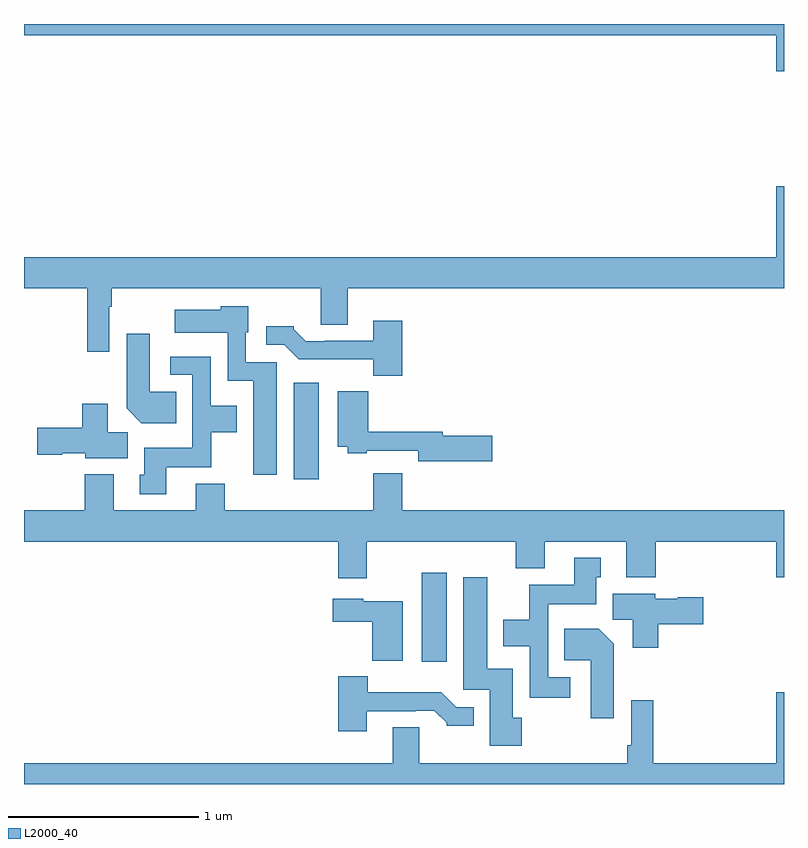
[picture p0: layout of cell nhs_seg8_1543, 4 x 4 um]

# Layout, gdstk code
import gdstk
lib = gdstk.Library(unit=1e-6, precision=1e-09)
def R(c, l, rs):  # rectangles x0, y0, x1, y1
    for r in rs: c.add(gdstk.rectangle(r[:2], r[2:], *l))
def P(c, l, *ps):  # polygons
    for p in ps: c.add(gdstk.Polygon(p, *l))
L2000_40 = (2000, 40)

nhs_seg8_1543 = lib.new_cell('nhs_seg8_1543')
R(nhs_seg8_1543, L2000_40, [(211.094,1106.544,211.225,1107.013), (210.419,1107.504,210.55,1108.012)])
P(nhs_seg8_1543, L2000_40, [(213,1109.9),(209,1109.9),(209,1109.84),(212.96,1109.84),(212.96,1109.652),(213,1109.652)],
  [(209.448,1108.412),(209.461,1108.412),(209.461,1108.508),(210.563,1108.508),(210.563,1108.318),(210.703,1108.318),(210.703,1108.508),(213,1108.508),(213,1109.047),(212.96,1109.047),(212.96,1108.672),(209,1108.672),(209,1108.508),(209.332,1108.508),(209.332,1108.176),(209.448,1108.176)],
  [(210.331,1108.119),(210.168,1108.119),(210.168,1108.278),(210.181,1108.278),(210.181,1108.414),(210.036,1108.414),(210.036,1108.396),(209.793,1108.396),(209.793,1108.274),(210.072,1108.274),(210.072,1108.022),(210.206,1108.022),(210.206,1107.528),(210.331,1107.528)],
  [(210.992,1108.339),(210.839,1108.339),(210.839,1108.233),(210.583,1108.233),(210.583,1108.23),(210.484,1108.23),(210.42,1108.294),(210.42,1108.309),(210.276,1108.309),(210.276,1108.212),(210.369,1108.212),(210.445,1108.136),(210.837,1108.136),(210.837,1108.049),(210.992,1108.049)],
  [(209.801,1107.964),(209.662,1107.964),(209.662,1108.27),(209.54,1108.27),(209.54,1107.878),(209.618,1107.8),(209.801,1107.8)],
  [(209.749,1107.566),(209.985,1107.566),(209.985,1107.752),(210.121,1107.752),(210.121,1107.892),(209.982,1107.892),(209.982,1108.149),(209.769,1108.149),(209.769,1108.053),(209.886,1108.053),(209.886,1107.67),(209.633,1107.67),(209.633,1107.528),(209.609,1107.528),(209.609,1107.426),(209.749,1107.426)],
  [(211.465,1107.734),(211.204,1107.734),(211.204,1107.755),(210.812,1107.755),(210.812,1107.967),(210.65,1107.967),(210.65,1107.674),(210.705,1107.674),(210.705,1107.642),(210.805,1107.642),(210.805,1107.654),(211.076,1107.654),(211.076,1107.599),(211.465,1107.599)],
  [(209.545,1107.752),(209.44,1107.752),(209.44,1107.901),(209.306,1107.901),(209.306,1107.776),(209.07,1107.776),(209.07,1107.634),(209.202,1107.634),(209.202,1107.641),(209.322,1107.641),(209.322,1107.614),(209.545,1107.614)],
  [(210.805,1107.176),(211.589,1107.176),(211.589,1107.035),(211.741,1107.035),(211.741,1107.176),(212.171,1107.176),(212.171,1106.987),(212.324,1106.987),(212.324,1107.176),(212.96,1107.176),(212.96,1106.988),(213,1106.988),(213,1107.34),(210.992,1107.34),(210.992,1107.535),(210.839,1107.535),(210.839,1107.34),(210.056,1107.34),(210.056,1107.481),(209.903,1107.481),(209.903,1107.34),(209.473,1107.34),(209.473,1107.529),(209.321,1107.529),(209.321,1107.34),(209,1107.34),(209,1107.176),(210.653,1107.176),(210.653,1106.982),(210.805,1106.982)],
  [(211.876,1106.463),(211.758,1106.463),(211.758,1106.846),(212.011,1106.846),(212.011,1106.988),(212.035,1106.988),(212.035,1107.091),(211.895,1107.091),(211.895,1106.95),(211.66,1106.95),(211.66,1106.764),(211.523,1106.764),(211.523,1106.624),(211.662,1106.624),(211.662,1106.355),(211.876,1106.355)],
  [(211.62,1106.25),(211.573,1106.25),(211.573,1106.506),(211.438,1106.506),(211.438,1106.989),(211.313,1106.989),(211.313,1106.397),(211.451,1106.397),(211.451,1106.102),(211.62,1106.102)],
  [(212.339,1106.741),(212.575,1106.741),(212.575,1106.883),(212.442,1106.883),(212.442,1106.875),(212.322,1106.875),(212.322,1106.902),(212.099,1106.902),(212.099,1106.764),(212.204,1106.764),(212.204,1106.616),(212.339,1106.616)],
  [(210.994,1106.863),(210.786,1106.863),(210.786,1106.875),(210.624,1106.875),(210.624,1106.753),(210.832,1106.753),(210.832,1106.549),(210.994,1106.549)],
  [(212.104,1106.638),(212.026,1106.716),(211.843,1106.716),(211.843,1106.552),(211.982,1106.552),(211.982,1106.247),(212.104,1106.247)],
  [(210.805,1106.283),(211.061,1106.283),(211.061,1106.286),(211.16,1106.286),(211.224,1106.222),(211.224,1106.207),(211.366,1106.207),(211.366,1106.304),(211.275,1106.304),(211.197,1106.383),(210.808,1106.383),(210.808,1106.467),(210.653,1106.467),(210.653,1106.178),(210.805,1106.178)],
  [(213,1106.383),(212.96,1106.383),(212.96,1106.008),(212.312,1106.008),(212.312,1106.341),(212.196,1106.341),(212.196,1106.104),(212.176,1106.104),(212.176,1106.008),(211.081,1106.008),(211.081,1106.198),(210.941,1106.198),(210.941,1106.008),(209,1106.008),(209,1105.9),(213,1105.9)])

lib.write_gds('nhs_seg8_1543.gds')
